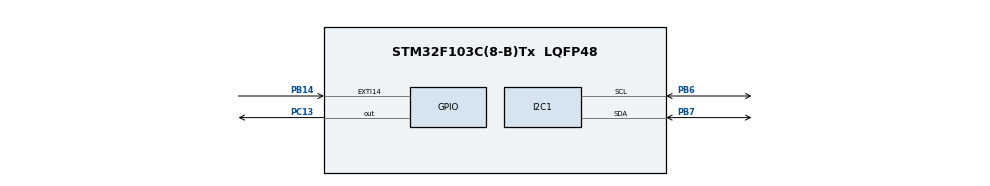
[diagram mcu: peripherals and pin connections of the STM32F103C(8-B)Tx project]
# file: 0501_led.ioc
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Mcu.Family=STM32F1
Mcu.Name=STM32F103C(8-B)Tx
Mcu.Package=LQFP48
NVIC.EXTI15_10_IRQn=true\:0\:0\:false\:true\:true\:1\:true\:true\:true
NVIC.PriorityGroup=NVIC_PRIORITYGROUP_4
PA13.Mode=Serial_Wire
PA13.Signal=SYS_JTMS-SWDIO
PA14.Mode=Serial_Wire
PA14.Signal=SYS_JTCK-SWCLK
PB14.GPIO_ModeDefaultEXTI=GPIO_MODE_IT_RISING_FALLING
PB14.Signal=GPXTI14
PB6.Mode=I2C
PB6.Signal=I2C1_SCL
PB7.Mode=I2C
PB7.Signal=I2C1_SDA
PC13-TAMPER-RTC.Signal=GPIO_Output
ProjectManager.HeapSize=0x200
ProjectManager.StackSize=0x400
ProjectManager.TargetToolchain=MDK-ARM V5.32
RCC.APB1Freq_Value=8000000
RCC.APB2Freq_Value=8000000
board=custom

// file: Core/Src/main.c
/* USER CODE BEGIN Header */
/**
  ******************************************************************************
  * @file           : main.c
  * @brief          : Main program body
  ******************************************************************************
  * @attention
  *
  * Copyright (c) 2023 STMicroelectronics.
  * All rights reserved.
  *
  * This software is licensed under terms that can be found in the LICENSE file
  * in the root directory of this software component.
  * If no LICENSE file comes with this software, it is provided AS-IS.
  *
  ******************************************************************************
  */
/* USER CODE END Header */
#include "main.h"
#include "i2c.h"
#include "gpio.h"

/* USER CODE BEGIN Includes */
#include "driver_oled.h"
/* USER CODE END Includes */

/* USER CODE BEGIN PTD */
struct soft_timer{
	uint32_t timeout;
	void *args;
	void (*func)(void*);
};

/* USER CODE END PTD */

/* USER CODE BEGIN PV */
int g_key_cnt=0;

void key_timeout_func(void *args);

struct soft_timer key_timer={~0,NULL,key_timeout_func};

void key_timeout_func(void *args)
{
	g_key_cnt++;
	key_timer.timeout=~0;
}

void mod_timer(struct soft_timer *pTimer,uint32_t timeout)
{
	pTimer->timeout=HAL_GetTick()+timeout;
}

void check_timer(void)
{
	if(key_timer.timeout<=HAL_GetTick())
	{
		key_timer.func(key_timer.args);
	}
}

 void HAL_GPIO_EXTI_Callback(uint16_t GPIO_Pin)
 {
	 if(GPIO_Pin==GPIO_PIN_14)
	 {
	  mod_timer(&key_timer,10);
	 }
 }
/* USER CODE END PV */

void SystemClock_Config(void);
static void MX_NVIC_Init(void);

int main(void)
{

  /* MCU Configuration--------------------------------------------------------*/

  /* Reset of all peripherals, Initializes the Flash interface and the Systick. */
  HAL_Init();

  /* Configure the system clock */
  SystemClock_Config();

  /* Initialize all configured peripherals */
  MX_GPIO_Init();
  MX_I2C1_Init();

  /* Initialize interrupts */
  MX_NVIC_Init();
  /* USER CODE BEGIN 2 */
  //初始化OLED
  OLED_Init();
  //清屏
	OLED_Clear();
  /* USER CODE END 2 */

  /* Infinite loop */
  /* USER CODE BEGIN WHILE */
  OLED_PrintString(0,4,"key ISR cnt=");
  while (1)
  {
    OLED_PrintSignedVal(0,6,g_key_cnt);
		// /* set PC13 output high */
		// HAL_GPIO_WritePin(GPIOC, GPIO_PIN_13, GPIO_PIN_SET);
		// HAL_Delay(500);

		// /* set PC13 output low */
		// HAL_GPIO_WritePin(GPIOC, GPIO_PIN_13, GPIO_PIN_RESET);
		// HAL_Delay(500);

    /* USER CODE END WHILE */

  }
}

void SystemClock_Config(void)
{
  RCC_OscInitTypeDef RCC_OscInitStruct = {0};
  RCC_ClkInitTypeDef RCC_ClkInitStruct = {0};

  /** Initializes the RCC Oscillators according to the specified parameters
  * in the RCC_OscInitTypeDef structure.
  */
  RCC_OscInitStruct.OscillatorType = RCC_OSCILLATORTYPE_HSI;
  RCC_OscInitStruct.HSIState = RCC_HSI_ON;
  RCC_OscInitStruct.HSICalibrationValue = RCC_HSICALIBRATION_DEFAULT;
  RCC_OscInitStruct.PLL.PLLState = RCC_PLL_NONE;
  if (HAL_RCC_OscConfig(&RCC_OscInitStruct) != HAL_OK)
  {
    Error_Handler();
  }

  /** Initializes the CPU, AHB and APB buses clocks
  */
  RCC_ClkInitStruct.ClockType = RCC_CLOCKTYPE_HCLK|RCC_CLOCKTYPE_SYSCLK
                              |RCC_CLOCKTYPE_PCLK1|RCC_CLOCKTYPE_PCLK2;
  RCC_ClkInitStruct.SYSCLKSource = RCC_SYSCLKSOURCE_HSI;
  RCC_ClkInitStruct.AHBCLKDivider = RCC_SYSCLK_DIV1;
  RCC_ClkInitStruct.APB1CLKDivider = RCC_HCLK_DIV1;
  RCC_ClkInitStruct.APB2CLKDivider = RCC_HCLK_DIV1;

  if (HAL_RCC_ClockConfig(&RCC_ClkInitStruct, FLASH_LATENCY_0) != HAL_OK)
  {
    Error_Handler();
  }
}

/**
  * @brief NVIC Configuration.
  * @retval None
  */
static void MX_NVIC_Init(void)
{
  /* EXTI15_10_IRQn interrupt configuration */
  HAL_NVIC_SetPriority(EXTI15_10_IRQn, 0, 0);
  HAL_NVIC_EnableIRQ(EXTI15_10_IRQn);
}

void Error_Handler(void)
{
  __disable_irq();
  while (1)
  {
  }
}
